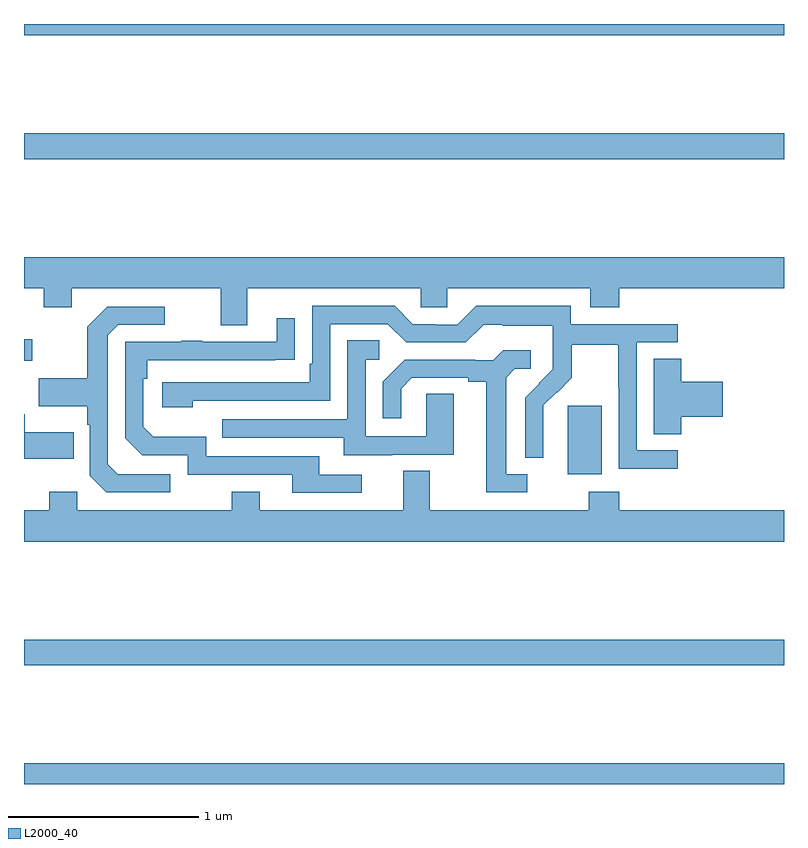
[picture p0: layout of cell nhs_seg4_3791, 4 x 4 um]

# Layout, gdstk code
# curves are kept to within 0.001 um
import gdstk
lib = gdstk.Library(unit=1e-6, precision=1e-09)
def R(c, l, rs):  # rectangles x0, y0, x1, y1
    for r in rs: c.add(gdstk.rectangle(r[:2], r[2:], *l))
def P(c, l, *ps):  # polygons
    for p in ps: c.add(gdstk.Polygon(p, *l))
L2000_40 = (2000, 40)

nhs_seg4_3791 = lib.new_cell('nhs_seg4_3791')
R(nhs_seg4_3791, L2000_40, [(311,772.9,315,773.008), (311,773.524,315,773.66), (313.862,774.53,314.041,774.891), (311,775.127,311.044,775.24), (311,776.188,315,776.324), (311,776.84,315,776.9)])
P(nhs_seg4_3791, L2000_40, [(312.175,775.508),(313.089,775.508),(313.089,775.41),(313.227,775.41),(313.227,775.508),(313.979,775.508),(313.979,775.409),(314.132,775.409),(314.132,775.508),(315,775.508),(315,775.672),(311,775.672),(311,775.508),(311.104,775.508),(311.104,775.409),(311.251,775.409),(311.251,775.508),(312.035,775.508),(312.035,775.314),(312.175,775.314)],
  [(314.44,774.657),(314.226,774.657),(314.226,775.224),(314.44,775.224),(314.44,775.32),(313.878,775.32),(313.878,775.417),(313.381,775.417),(313.281,775.317),(313.166,775.317),(313.166,775.32),(313.047,775.32),(312.951,775.416),(312.516,775.416),(312.516,775.111),(312.503,775.111),(312.503,775.014),(311.727,775.014),(311.727,774.884),(311.888,774.884),(311.888,774.918),(312.612,774.918),(312.612,775.32),(312.915,775.32),(313.011,775.224),(313.326,775.224),(313.419,775.317),(313.519,775.317),(313.519,775.313),(313.782,775.313),(313.782,775.179),(313.784,775.179),(313.784,775.082),(313.638,774.934),(313.638,774.616),(313.734,774.616),(313.733,774.893),(313.803,774.963),(313.806,774.96),(313.883,775.037),(313.883,775.212),(314.128,775.212),(314.128,774.988),(314.13,774.988),(314.13,774.559),(314.44,774.559)],
  [(311.77,774.531),(311.493,774.531),(311.442,774.582),(311.442,775.263),(311.496,775.317),(311.74,775.317),(311.74,775.413),(311.439,775.413),(311.334,775.307),(311.334,775.035),(311.077,775.035),(311.077,774.887),(311.334,774.887),(311.334,774.791),(311.346,774.791),(311.346,774.522),(311.433,774.435),(311.77,774.435)],
  [(312.778,774.528),(312.553,774.528),(312.553,774.624),(311.958,774.624),(311.958,774.727),(311.681,774.727),(311.628,774.78),(311.628,775.034),(311.648,775.034),(311.648,775.131),(312.425,775.132),(312.425,775.351),(312.329,775.351),(312.329,775.227),(311.939,775.227),(311.939,775.232),(311.827,775.232),(311.827,775.227),(311.532,775.227),(311.532,774.72),(311.622,774.63),(311.862,774.63),(311.862,774.528),(312.413,774.528),(312.413,774.432),(312.778,774.432)],
  [(312.937,774.633),(313.261,774.633),(313.261,774.953),(313.116,774.953),(313.116,774.729),(312.798,774.729),(312.798,775.134),(312.871,775.134),(312.871,775.235),(312.702,775.235),(312.702,774.819),(312.043,774.819),(312.043,774.723),(312.683,774.723),(312.683,774.629),(312.937,774.629)],
  [(313.648,774.531),(313.537,774.531),(313.537,775.039),(313.584,775.086),(313.666,775.086),(313.666,775.183),(313.522,775.183),(313.47,775.131),(313.376,775.131),(313.376,775.134),(313.004,775.134),(312.888,775.018),(312.888,774.825),(312.985,774.825),(312.985,774.981),(313.042,775.038),(313.337,775.038),(313.337,775.016),(313.433,775.016),(313.433,774.435),(313.648,774.435)],
  [(314.459,774.833),(314.677,774.833),(314.677,775.016),(314.459,775.016),(314.459,775.139),(314.315,775.139),(314.315,774.742),(314.459,774.742)],
  [(311.261,774.751),(311.005,774.751),(311.005,774.847),(311,774.847),(311,774.611),(311.261,774.611)],
  [(315,774.34),(314.132,774.34),(314.132,774.439),(313.972,774.439),(313.972,774.34),(313.135,774.34),(313.135,774.548),(312.995,774.548),(312.995,774.34),(312.241,774.34),(312.241,774.439),(312.094,774.439),(312.094,774.34),(311.28,774.34),(311.28,774.439),(311.134,774.439),(311.134,774.34),(311,774.34),(311,774.176),(315,774.176)])

lib.write_gds('nhs_seg4_3791.gds')
